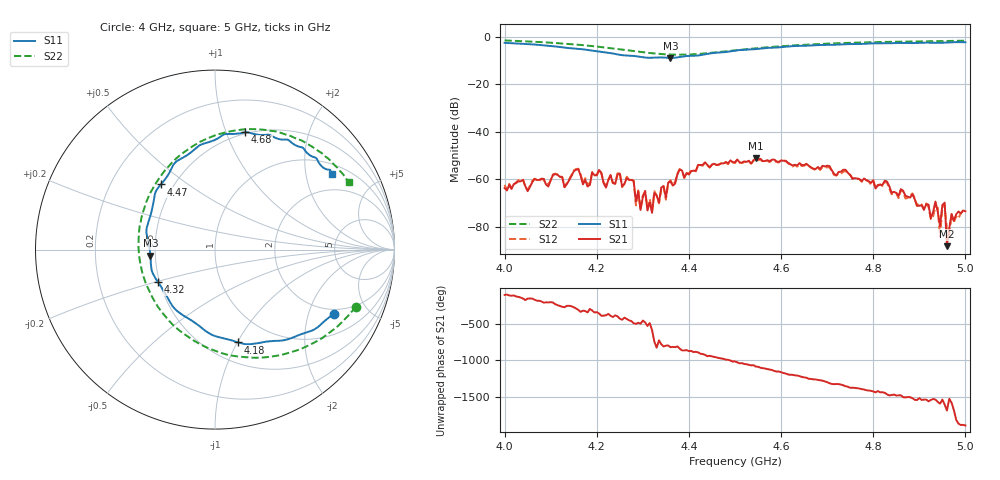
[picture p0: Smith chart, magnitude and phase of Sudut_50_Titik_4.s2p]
# Hz S RI R 50
! CMT, C1220, 16058040, 17.2.0/1
! Date: 15/08/2018 12:27:35
! Data: Format (Calibration Info)
! Freq  S11: Re/Im (F2)  S21: Re/Im (F2)  S12: Re/Im (F2)  S22: Re/Im (F2)
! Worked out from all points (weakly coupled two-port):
!   201 points, 4 GHz to 5 GHz, reference 50 ohm
!   highest |S21| = -51.18 dB at 4.545 GHz (marker M1); lowest = -88.2 dB at 4.96 GHz (marker M2)
!   lowest |S11| = -8.8 dB at 4.36 GHz (marker M3), VSWR 2.13, Z = 23.5 - j1.81 ohm
!   |S11| at or under -10 dB: nowhere
!   |S22| runs from -7.5 to -1.5 dB; largest |S21 - S12| = 0.00016
!   S11 on the Smith chart (normalised r, x): 4 GHz: 1.79, -2.95; 4.18 GHz: 0.70, -1.01; 4.32 GHz: 0.49, -0.20; 4.47 GHz: 0.43, +0.40; 4.68 GHz: 0.49, +1.17; 5 GHz: 1.33, +2.81
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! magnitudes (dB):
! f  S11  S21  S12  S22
! 4 GHz  -2.5  -63.7  -62.3  -1.5
! 4.13 GHz  -4.5  -63.3  -63.3  -2.8
! 4.16 GHz  -5.0  -55.7  -55.5  -3.3
! 4.17 GHz  -5.2  -62.1  -61.7  -3.5
! 4.18 GHz  -5.5  -63.0  -61.7  -3.6
! 4.25 GHz  -7.5  -57.5  -57.2  -5.2
! 4.32 GHz  -8.7  -74.1  -73.1  -6.9
! 4.325 GHz  -8.7  -65.7  -65.0  -6.9
! 4.335 GHz  -8.6  -69.9  -70.1  -7.1
! 4.36 GHz  -8.8  -60.8  -60.4  -7.4
! 4.47 GHz  -6.5  -53.3  -53.3  -6.3
! 4.5 GHz  -5.7  -52.8  -53.1  -5.6
! 4.545 GHz  -5.1  -51.2  -51.4  -4.8
! 4.67 GHz  -3.5  -55.5  -55.6  -3.1
! 4.68 GHz  -3.4  -54.8  -55.2  -3.0
! 4.835 GHz  -2.7  -63.0  -63.9  -2.0
! 4.925 GHz  -2.4  -76.4  -76.8  -1.7
! 4.935 GHz  -2.4  -69.3  -71.5  -1.7
! 4.945 GHz  -2.5  -79.7  -84.2  -1.7
! 4.955 GHz  -2.4  -69.8  -70.9  -1.7
! 4.96 GHz  -2.3  -88.2  -81.2  -1.7
! 5 GHz  -2.2  -73.5  -73.0  -1.6
